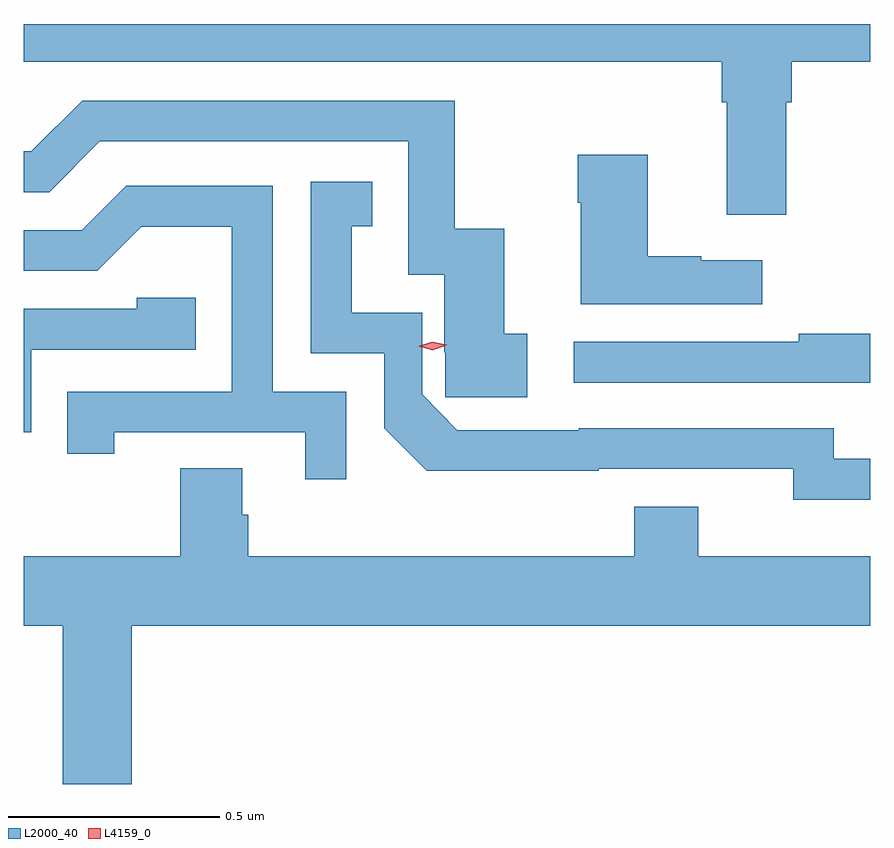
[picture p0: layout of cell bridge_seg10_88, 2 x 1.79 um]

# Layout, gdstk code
import gdstk
lib = gdstk.Library(unit=1e-6, precision=1e-09)
def P(c, l, *ps):  # polygons
    for p in ps: c.add(gdstk.Polygon(p, *l))
L2000_40 = (2000, 40)
L4159_0 = (4159, 0)

bridge_seg10_88 = lib.new_cell('bridge_seg10_88')
P(bridge_seg10_88, L2000_40, [(656.424,1322.96),(658.073,1322.96),(658.073,1322.864),(658.085,1322.864),(658.085,1322.598),(658.225,1322.598),(658.225,1322.864),(658.238,1322.864),(658.238,1322.96),(658.424,1322.96),(658.424,1323.049),(656.424,1323.049)],
  [(657.613,1322.318),(657.559,1322.318),(657.559,1322.566),(657.442,1322.566),(657.442,1322.868),(656.562,1322.868),(656.442,1322.748),(656.424,1322.748),(656.424,1322.652),(656.484,1322.652),(656.604,1322.772),(657.333,1322.772),(657.333,1322.457),(657.418,1322.457),(657.418,1322.274),(657.42,1322.274),(657.42,1322.168),(657.613,1322.168)],
  [(658.168,1322.491),(658.025,1322.491),(658.025,1322.501),(657.898,1322.501),(657.898,1322.74),(657.733,1322.74),(657.733,1322.627),(657.74,1322.627),(657.74,1322.387),(658.168,1322.387)],
  [(658.424,1322.022),(658.338,1322.022),(658.338,1322.094),(657.735,1322.094),(657.735,1322.09),(657.448,1322.09),(657.365,1322.174),(657.365,1322.367),(657.199,1322.367),(657.199,1322.571),(657.248,1322.571),(657.248,1322.677),(657.102,1322.677),(657.102,1322.271),(657.276,1322.271),(657.276,1322.094),(657.376,1321.994),(657.782,1321.994),(657.782,1321.998),(658.242,1321.998),(658.242,1321.925),(658.424,1321.925)],
  [(657.186,1322.181),(657.012,1322.181),(657.012,1322.667),(656.666,1322.667),(656.561,1322.562),(656.424,1322.562),(656.424,1322.466),(656.598,1322.466),(656.702,1322.57),(656.916,1322.57),(656.916,1322.181),(656.527,1322.181),(656.527,1322.034),(656.638,1322.034),(656.638,1322.085),(657.089,1322.085),(657.089,1321.974),(657.186,1321.974)],
  [(656.442,1322.28),(656.831,1322.28),(656.831,1322.403),(656.691,1322.403),(656.691,1322.376),(656.424,1322.376),(656.424,1322.085),(656.442,1322.085)],
  [(658.424,1322.318),(658.255,1322.318),(658.255,1322.298),(657.723,1322.298),(657.723,1322.202),(658.424,1322.202)],
  [(656.68,1321.628),(658.424,1321.628),(658.424,1321.792),(658.018,1321.792),(658.018,1321.909),(657.866,1321.909),(657.866,1321.792),(656.954,1321.792),(656.954,1321.89),(656.941,1321.89),(656.941,1322),(656.794,1322),(656.794,1321.792),(656.424,1321.792),(656.424,1321.628),(656.516,1321.628),(656.516,1321.254),(656.68,1321.254)])
P(bridge_seg10_88, L4159_0, [(657.39,1322.279),(657.356,1322.288),(657.356,1322.288),(657.356,1322.288),(657.389,1322.299),(657.422,1322.291),(657.423,1322.291),(657.422,1322.29)])

lib.write_gds('bridge_seg10_88.gds')
